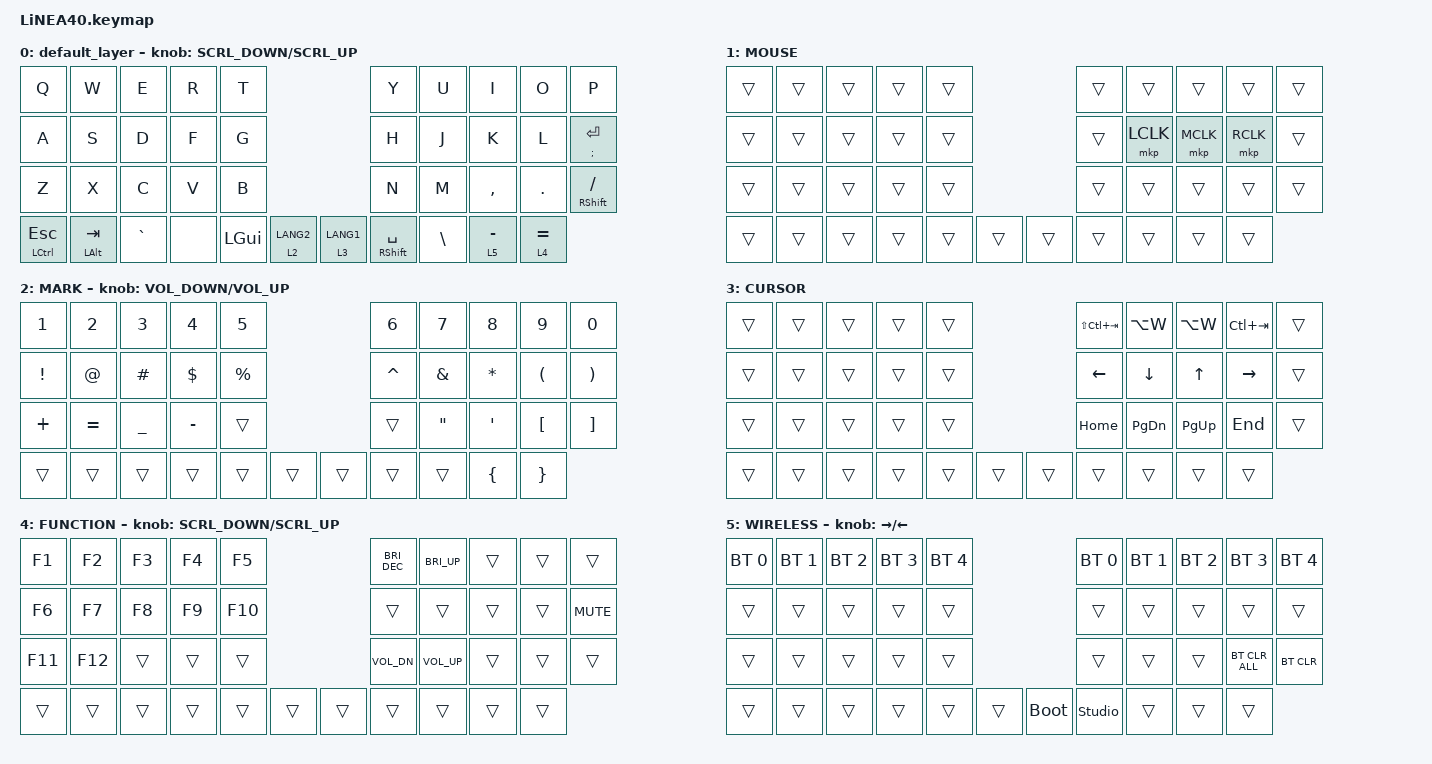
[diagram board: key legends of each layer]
#define ZMK_POINTING_DEFAULT_SCRL_VAL 150

#include <dt-bindings/zmk/input_transform.h>
#include <input/processors.dtsi>
#include <zephyr/dt-bindings/input/input-event-codes.h>
#include <behaviors.dtsi>
#include <dt-bindings/zmk/bt.h>
#include <dt-bindings/zmk/keys.h>
#include <dt-bindings/zmk/pointing.h>

#define MOUSE 1
#define MARK 2
#define CURSOR 3
#define FUNCTION 4
#define SCROLL 5
#define WIRELESS 6

//mouse cursol

&mmv {
    delay-ms = <20>;
    trigger-period-ms = <5>;
    time-to-max-speed-ms = <100>;
    acceleration-exponent = <2>;
};

//mouse scroll

&msc {
    delay-ms = <3>;
    trigger-period-ms = <3>;
    time-to-max-speed-ms = <100>;
    acceleration-exponent = <0>;
};

/ {
    input_processors {
        zip_wheel_scaler: zip_wheel_scaler {
            compatible = "zmk,input-processor-scaler";
            #input-processor-cells = <2>;
            type = <INPUT_EV_REL>;
            codes = <INPUT_REL_WHEEL>;
            track-remainders;
        };
    };
};

&msc_input_listener {
    speed_up {
        layers = <FUNCTION>;
        input-processors = <&zip_wheel_scaler 3 1>; //スクロールを3倍速にする
    };
};

&trackball_listener {
    scroller {
        layers = <SCROLL>;
        input-processors =
            <&zip_xy_transform INPUT_TRANSFORM_Y_INVERT>,
            //スクロール方向を逆転,,,,,,,,,,,,,,,,,,,,
            <&zip_xy_to_scroll_mapper>;
    };
};

/ {
    combos {
        compatible = "zmk,combos";

        DeleteKey {
            bindings = <&kp DEL>;
            key-positions = <13 14>;
        };

        LeftClick {
            bindings = <&mkp MB1>;
            key-positions = <17 16>;
        };

        RightClick {
            bindings = <&mkp MB2>;
            key-positions = <18 17>;
        };

        PrevClick {
            bindings = <&mkp MB4>;
            key-positions = <27 26>;
        };

        ClickNext {
            bindings = <&mkp MB5>;
            key-positions = <27 28>;
        };

        CenterClick {
            bindings = <&mkp MB3>;
            key-positions = <16 18>;
        };

        backspace {
            bindings = <&kp BACKSPACE>;
            key-positions = <15 16>;
        };

        brackets {
            bindings = <&brackets>;
            key-positions = <28 29>;
        };

        parentheses {
            bindings = <&parentheses>;
            key-positions = <18 19>;
        };

        braces {
            bindings = <&braces>;
            key-positions = <40 39>;
        };

        esc {
            bindings = <&kp ESC>;
            key-positions = <0 1>;
        };
    };

    behaviors {
        re_kp: sensor_rotate_kp {
            compatible = "zmk,behavior-sensor-rotate-var";
            #sensor-binding-cells = <2>;
            bindings = <&kp>, <&kp>;
        };

        mouse_scrl: mouse_wheel_scrl {
            compatible = "zmk,behavior-sensor-rotate-var";
            #sensor-binding-cells = <2>;
            bindings = <&msc>, <&msc>;

            tap-ms = <20>;
        };
    };

    macros {
        brackets: brackets {
            compatible = "zmk,behavior-macro";
            #binding-cells = <0>;
            bindings = <&kp LANGUAGE_2 &kp LEFT_BRACKET &kp RIGHT_BRACKET &kp LEFT>;
            label = "BRACKETS";
        };

        parentheses: parentheses {
            compatible = "zmk,behavior-macro";
            #binding-cells = <0>;
            bindings = <&kp LANGUAGE_2 &kp LEFT_PARENTHESIS &kp RIGHT_PARENTHESIS &kp LEFT>;
            label = "PARENTHESES";
        };

        braces: curly_brackets {
            compatible = "zmk,behavior-macro";
            #binding-cells = <0>;
            bindings = <&kp LANGUAGE_2 &kp LEFT_BRACE &kp RIGHT_BRACE &kp LEFT>;
            label = "CURLY_BRACKETS";
        };
    };

    keymap {
        compatible = "zmk,keymap";

        default_layer {
            bindings = <
&kp Q          &kp W             &kp E      &kp R  &kp T                                     &kp Y                  &kp U  &kp I          &kp O        &kp P
&kp A          &kp S             &kp D      &kp F  &kp G                                     &kp H                  &kp J  &kp K          &kp L        &mt SEMI ENTER
&kp Z          &kp X             &kp C      &kp V  &kp B                                     &kp N                  &kp M  &kp COMMA      &kp DOT      &mt RIGHT_SHIFT SLASH
&mt LCTRL ESC  &mt LEFT_ALT TAB  &kp GRAVE  &none  &kp LEFT_GUI  &lt 2 LANG2    &lt 3 LANG1  &mt RIGHT_SHIFT SPACE         &kp BACKSLASH  &lt 5 MINUS  &lt 4 EQUAL
            >;

            sensor-bindings = <&mouse_scrl SCRL_DOWN SCRL_UP>;
        };

        //1

        MOUSE {
            bindings = <
&trans  &trans  &trans  &trans  &trans                    &trans  &trans     &trans     &trans     &trans
&trans  &trans  &trans  &trans  &trans                    &trans  &mkp LCLK  &mkp MCLK  &mkp RCLK  &trans
&trans  &trans  &trans  &trans  &trans                    &trans  &trans     &trans     &trans     &trans
&trans  &trans  &trans  &trans  &trans  &trans    &trans  &trans             &trans     &trans     &trans
            >;
        };

        //2

        MARK {
            bindings = <
&kp NUMBER_1     &kp NUMBER_2  &kp NUMBER_3    &kp NUMBER_4  &kp N5                         &kp NUMBER_6  &kp N7             &kp N8        &kp N9                &kp N0
&kp EXCLAMATION  &kp AT_SIGN   &kp HASH        &kp DOLLAR    &kp PERCENT                    &kp CARET     &kp AMPERSAND      &kp ASTERISK  &kp LEFT_PARENTHESIS  &kp RIGHT_PARENTHESIS
&kp PLUS         &kp EQUAL     &kp UNDERSCORE  &kp MINUS     &trans                         &trans        &kp DOUBLE_QUOTES  &kp SQT       &kp LEFT_BRACKET      &kp RIGHT_BRACKET
&trans           &trans        &trans          &trans        &trans       &trans    &trans  &trans                           &trans        &kp LEFT_BRACE        &kp RIGHT_BRACE
            >;

            sensor-bindings = <&re_kp C_VOLUME_DOWN C_VOLUME_UP>;
        };

        //3

        CURSOR {
            bindings = <
&trans  &trans  &trans  &trans  &trans                    &kp LS(LC(TAB))  &kp LA(W)       &kp LA(W)     &kp LC(TAB)      &trans
&trans  &trans  &trans  &trans  &trans                    &kp LEFT         &kp DOWN_ARROW  &kp UP_ARROW  &kp RIGHT_ARROW  &trans
&trans  &trans  &trans  &trans  &trans                    &kp HOME         &kp PG_DN       &kp PG_UP     &kp END          &trans
&trans  &trans  &trans  &trans  &trans  &trans    &trans  &trans                           &trans        &trans           &trans
            >;
        };

        //4

        FUNCTION {
            bindings = <
&kp F1   &kp F2   &kp F3  &kp F4  &kp F5                     &kp C_BRI_DEC  &kp C_BRI_UP  &trans  &trans  &trans
&kp F6   &kp F7   &kp F8  &kp F9  &kp F10                    &trans         &trans        &trans  &trans  &kp C_MUTE
&kp F11  &kp F12  &trans  &trans  &trans                     &kp C_VOL_DN   &kp C_VOL_UP  &trans  &trans  &trans
&trans   &trans   &trans  &trans  &trans   &trans    &trans  &trans                       &trans  &trans  &trans
            >;

            sensor-bindings = <&mouse_scrl SCRL_DOWN SCRL_UP>;
        };

        //5
        //6

        WIRELESS {
            bindings = <
&bt BT_SEL 0  &bt BT_SEL 1  &bt BT_SEL 2  &bt BT_SEL 3  &bt BT_SEL 4                         &bt BT_SEL 0    &bt BT_SEL 1  &bt BT_SEL 2  &bt BT_SEL 3    &bt BT_SEL 4
&trans        &trans        &trans        &trans        &trans                               &trans          &trans        &trans        &trans          &trans
&trans        &trans        &trans        &trans        &trans                               &trans          &trans        &trans        &bt BT_CLR_ALL  &bt BT_CLR
&trans        &trans        &trans        &trans        &trans        &trans    &bootloader  &studio_unlock                &trans        &trans          &trans
            >;

            sensor-bindings = <&inc_dec_kp RIGHT_ARROW LEFT_ARROW>;
        };
    };
};
